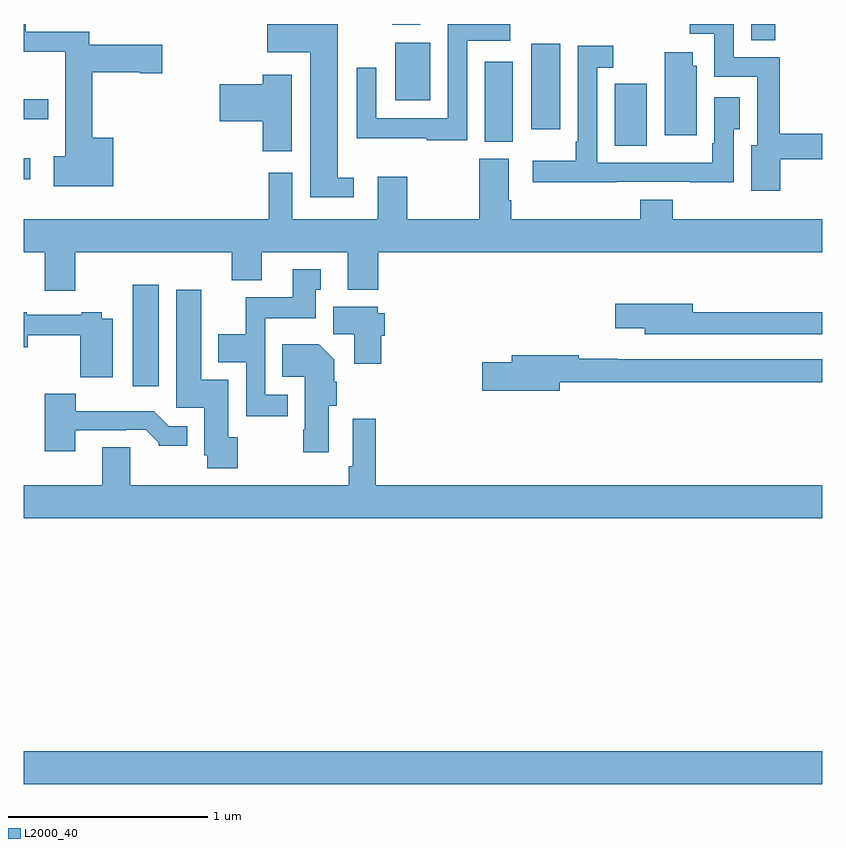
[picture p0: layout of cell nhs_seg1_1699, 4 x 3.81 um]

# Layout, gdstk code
import gdstk
lib = gdstk.Library(unit=1e-6, precision=1e-09)
def R(c, l, rs):  # rectangles x0, y0, x1, y1
    for r in rs: c.add(gdstk.rectangle(r[:2], r[2:], *l))
def P(c, l, *ps):  # polygons
    for p in ps: c.add(gdstk.Polygon(p, *l))
L2000_40 = (2000, 40)

nhs_seg1_1699 = lib.new_cell('nhs_seg1_1699')
R(nhs_seg1_1699, L2000_40, [(203,558.392,207,558.556), (203.546,560.385,203.677,560.893), (203,561.422,203.032,561.526), (205.961,561.589,206.122,561.9), (205.31,561.61,205.45,562.009), (205.541,561.672,205.687,562.099), (203,561.722,203.122,561.822), (204.86,561.818,205.036,562.105), (206.645,562.117,206.764,562.199), (204.845,562.194,204.985,562.199)])
P(nhs_seg1_1699, L2000_40, [(205.221,562.116),(205.438,562.116),(205.438,562.199),(205.125,562.199),(205.125,561.727),(204.765,561.727),(204.765,561.979),(204.669,561.979),(204.669,561.626),(205.018,561.626),(205.018,561.616),(205.221,561.616)],
  [(204.652,561.428),(204.574,561.428),(204.574,562.199),(204.219,562.199),(204.219,562.058),(204.434,562.058),(204.434,561.33),(204.652,561.33)],
  [(206.789,561.522),(207,561.522),(207,561.65),(206.786,561.65),(206.786,562.032),(206.556,562.032),(206.556,562.199),(206.337,562.199),(206.337,562.149),(206.46,562.149),(206.46,561.936),(206.675,561.936),(206.675,561.591),(206.645,561.591),(206.645,561.363),(206.789,561.363)],
  [(203.449,561.628),(203.342,561.628),(203.342,561.958),(203.582,561.958),(203.582,561.953),(203.695,561.953),(203.695,562.095),(203.329,562.095),(203.329,562.159),(203.01,562.159),(203.01,562.199),(203,562.199),(203,562.06),(203.207,562.06),(203.207,561.536),(203.151,561.536),(203.151,561.386),(203.449,561.386)],
  [(205.969,561.408),(206.335,561.408),(206.335,561.407),(206.556,561.407),(206.556,561.673),(206.587,561.673),(206.587,561.832),(206.46,561.832),(206.46,561.601),(206.448,561.601),(206.448,561.505),(206.218,561.505),(206.218,561.504),(205.872,561.504),(205.872,561.981),(205.954,561.981),(205.954,562.09),(205.776,562.09),(205.776,561.61),(205.764,561.61),(205.764,561.514),(205.551,561.514),(205.551,561.407),(205.969,561.407)],
  [(206.371,561.99),(206.35,561.99),(206.35,562.057),(206.21,562.057),(206.21,561.642),(206.371,561.642)],
  [(204.343,561.946),(204.197,561.946),(204.197,561.896),(203.982,561.896),(203.982,561.713),(204.197,561.713),(204.197,561.561),(204.343,561.561)],
  [(203.257,561.056),(204.041,561.056),(204.041,560.915),(204.193,560.915),(204.193,561.056),(204.623,561.056),(204.623,560.867),(204.776,560.867),(204.776,561.056),(207,561.056),(207,561.22),(206.252,561.22),(206.252,561.319),(206.087,561.319),(206.087,561.22),(205.442,561.22),(205.442,561.316),(205.429,561.316),(205.429,561.525),(205.282,561.525),(205.282,561.22),(204.921,561.22),(204.921,561.433),(204.773,561.433),(204.773,561.22),(204.346,561.22),(204.346,561.454),(204.228,561.454),(204.228,561.22),(203,561.22),(203,561.056),(203.105,561.056),(203.105,560.862),(203.257,560.862)],
  [(204.322,560.343),(204.21,560.343),(204.21,560.726),(204.463,560.726),(204.463,560.868),(204.487,560.868),(204.487,560.971),(204.347,560.971),(204.347,560.83),(204.112,560.83),(204.112,560.644),(203.975,560.644),(203.975,560.504),(204.114,560.504),(204.114,560.235),(204.322,560.235)],
  [(204.072,560.13),(204.025,560.13),(204.025,560.416),(203.89,560.416),(203.89,560.869),(203.765,560.869),(203.765,560.277),(203.903,560.277),(203.903,560.04),(203.92,560.04),(203.92,559.974),(204.072,559.974)],
  [(207,560.755),(206.35,560.755),(206.35,560.797),(205.962,560.797),(205.962,560.675),(206.111,560.675),(206.111,560.646),(207,560.646)],
  [(204.791,560.637),(204.809,560.637),(204.809,560.751),(204.774,560.751),(204.774,560.782),(204.551,560.782),(204.551,560.644),(204.656,560.644),(204.656,560.496),(204.791,560.496)],
  [(203.446,560.722),(203.391,560.722),(203.391,560.755),(203.291,560.755),(203.291,560.742),(203.016,560.742),(203.016,560.755),(203,560.755),(203,560.579),(203.02,560.579),(203.02,560.641),(203.284,560.641),(203.284,560.429),(203.446,560.429)],
  [(204.529,560.286),(204.569,560.286),(204.569,560.408),(204.556,560.408),(204.556,560.518),(204.478,560.596),(204.295,560.596),(204.295,560.432),(204.407,560.432),(204.407,560.167),(204.4,560.167),(204.4,560.055),(204.529,560.055)],
  [(205.684,560.404),(207,560.404),(207,560.52),(205.974,560.52),(205.974,560.521),(205.78,560.521),(205.78,560.54),(205.445,560.54),(205.445,560.504),(205.296,560.504),(205.296,560.362),(205.684,560.362)],
  [(203.257,560.163),(203.513,560.163),(203.513,560.166),(203.612,560.166),(203.676,560.102),(203.676,560.087),(203.818,560.087),(203.818,560.184),(203.727,560.184),(203.651,560.26),(203.26,560.26),(203.26,560.347),(203.105,560.347),(203.105,560.058),(203.257,560.058)],
  [(207,559.888),(204.764,559.888),(204.764,560.221),(204.648,560.221),(204.648,559.984),(204.628,559.984),(204.628,559.888),(203.533,559.888),(203.533,560.078),(203.393,560.078),(203.393,559.888),(203,559.888),(203,559.724),(207,559.724)])

lib.write_gds('nhs_seg1_1699.gds')
